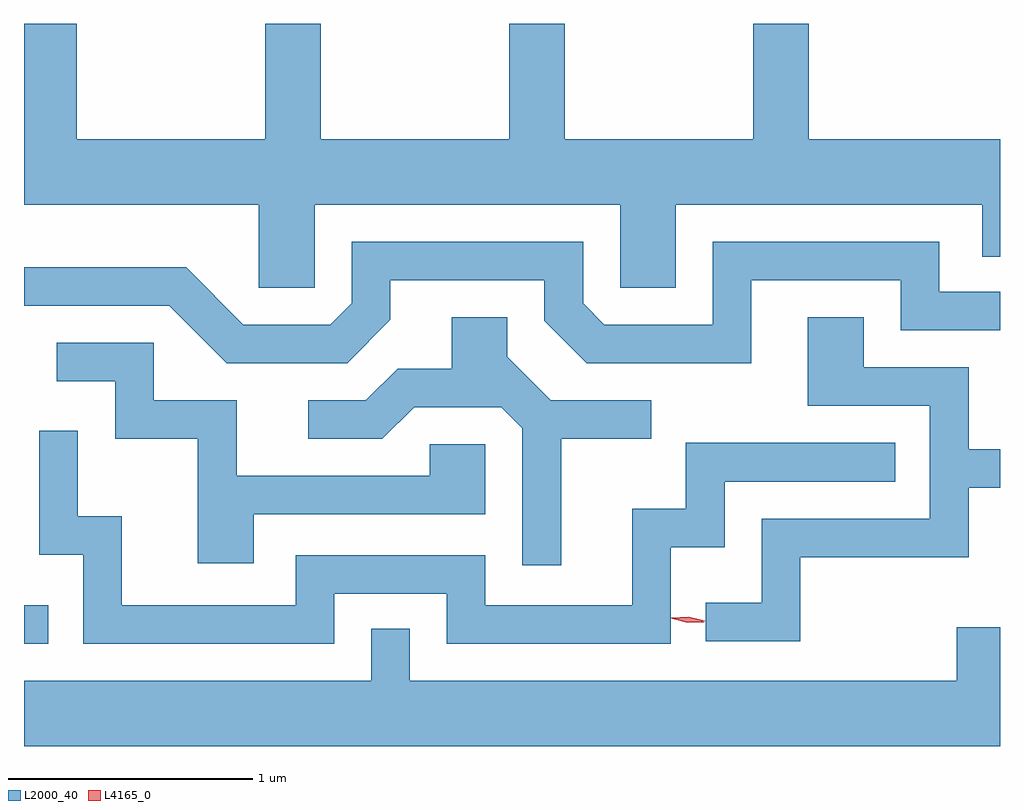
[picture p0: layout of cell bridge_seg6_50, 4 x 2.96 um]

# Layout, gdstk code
import gdstk
lib = gdstk.Library(unit=1e-6, precision=1e-09)
def R(c, l, rs):  # rectangles x0, y0, x1, y1
    for r in rs: c.add(gdstk.rectangle(r[:2], r[2:], *l))
def P(c, l, *ps):  # polygons
    for p in ps: c.add(gdstk.Polygon(p, *l))
L2000_40 = (2000, 40)
L4165_0 = (4165, 0)

bridge_seg6_50 = lib.new_cell('bridge_seg6_50')
R(bridge_seg6_50, L2000_40, [(1504.298,1548.236,1504.398,1548.394)])
P(bridge_seg6_50, L2000_40, [(1505.489,1550.036),(1506.741,1550.036),(1506.741,1549.696),(1506.969,1549.696),(1506.969,1550.036),(1508.226,1550.036),(1508.226,1549.823),(1508.298,1549.823),(1508.298,1550.304),(1507.514,1550.304),(1507.514,1550.777),(1507.286,1550.777),(1507.286,1550.304),(1506.514,1550.304),(1506.514,1550.777),(1506.286,1550.777),(1506.286,1550.304),(1505.514,1550.304),(1505.514,1550.777),(1505.286,1550.777),(1505.286,1550.304),(1504.514,1550.304),(1504.514,1550.777),(1504.298,1550.777),(1504.298,1550.036),(1505.261,1550.036),(1505.261,1549.696),(1505.489,1549.696)],
  [(1505.799,1549.564),(1505.799,1549.726),(1506.431,1549.726),(1506.431,1549.559),(1506.604,1549.386),(1507.279,1549.386),(1507.279,1549.726),(1507.891,1549.726),(1507.891,1549.521),(1508.298,1549.521),(1508.298,1549.679),(1508.049,1549.679),(1508.049,1549.884),(1507.121,1549.884),(1507.121,1549.544),(1506.677,1549.544),(1506.589,1549.632),(1506.589,1549.884),(1505.641,1549.884),(1505.641,1549.632),(1505.554,1549.544),(1505.197,1549.544),(1504.962,1549.779),(1504.298,1549.779),(1504.298,1549.621),(1504.894,1549.621),(1505.129,1549.386),(1505.622,1549.386)],
  [(1507.479,1548.591),(1508.169,1548.591),(1508.169,1548.876),(1508.298,1548.876),(1508.298,1549.034),(1508.169,1549.034),(1508.169,1549.369),(1507.739,1549.369),(1507.739,1549.574),(1507.511,1549.574),(1507.511,1549.211),(1508.011,1549.211),(1508.011,1548.749),(1507.321,1548.749),(1507.321,1548.404),(1507.093,1548.404),(1507.093,1548.246),(1507.479,1548.246)],
  [(1506.499,1549.076),(1506.868,1549.076),(1506.868,1549.234),(1506.457,1549.234),(1506.279,1549.412),(1506.279,1549.574),(1506.051,1549.574),(1506.051,1549.364),(1505.829,1549.364),(1505.699,1549.234),(1505.463,1549.234),(1505.463,1549.076),(1505.767,1549.076),(1505.897,1549.206),(1506.254,1549.206),(1506.341,1549.119),(1506.341,1548.558),(1506.499,1548.558)],
  [(1505.239,1548.766),(1506.189,1548.766),(1506.189,1549.054),(1505.961,1549.054),(1505.961,1548.924),(1505.169,1548.924),(1505.169,1549.234),(1504.829,1549.234),(1504.829,1549.469),(1504.433,1549.469),(1504.433,1549.311),(1504.671,1549.311),(1504.671,1549.076),(1505.011,1549.076),(1505.011,1548.566),(1505.239,1548.566)],
  [(1505.569,1548.441),(1506.031,1548.441),(1506.031,1548.236),(1506.949,1548.236),(1506.949,1548.631),(1507.169,1548.631),(1507.169,1548.901),(1507.868,1548.901),(1507.868,1549.059),(1507.011,1549.059),(1507.011,1548.789),(1506.791,1548.789),(1506.791,1548.394),(1506.189,1548.394),(1506.189,1548.599),(1505.411,1548.599),(1505.411,1548.394),(1504.699,1548.394),(1504.699,1548.759),(1504.519,1548.759),(1504.519,1549.108),(1504.361,1549.108),(1504.361,1548.601),(1504.541,1548.601),(1504.541,1548.236),(1505.569,1548.236)],
  [(1508.298,1548.304),(1508.121,1548.304),(1508.121,1548.084),(1505.879,1548.084),(1505.879,1548.298),(1505.721,1548.298),(1505.721,1548.084),(1504.298,1548.084),(1504.298,1547.816),(1508.298,1547.816)])
P(bridge_seg6_50, L4165_0, [(1507.019,1548.322),(1506.954,1548.338),(1506.953,1548.338),(1506.954,1548.339),(1507.021,1548.342),(1507.086,1548.326),(1507.086,1548.325),(1507.086,1548.325)],
  [(1507.02,1548.326),(1506.952,1548.341),(1506.951,1548.342),(1506.952,1548.342),(1507.021,1548.346),(1507.089,1548.331),(1507.09,1548.33),(1507.089,1548.33)])

lib.write_gds('bridge_seg6_50.gds')
